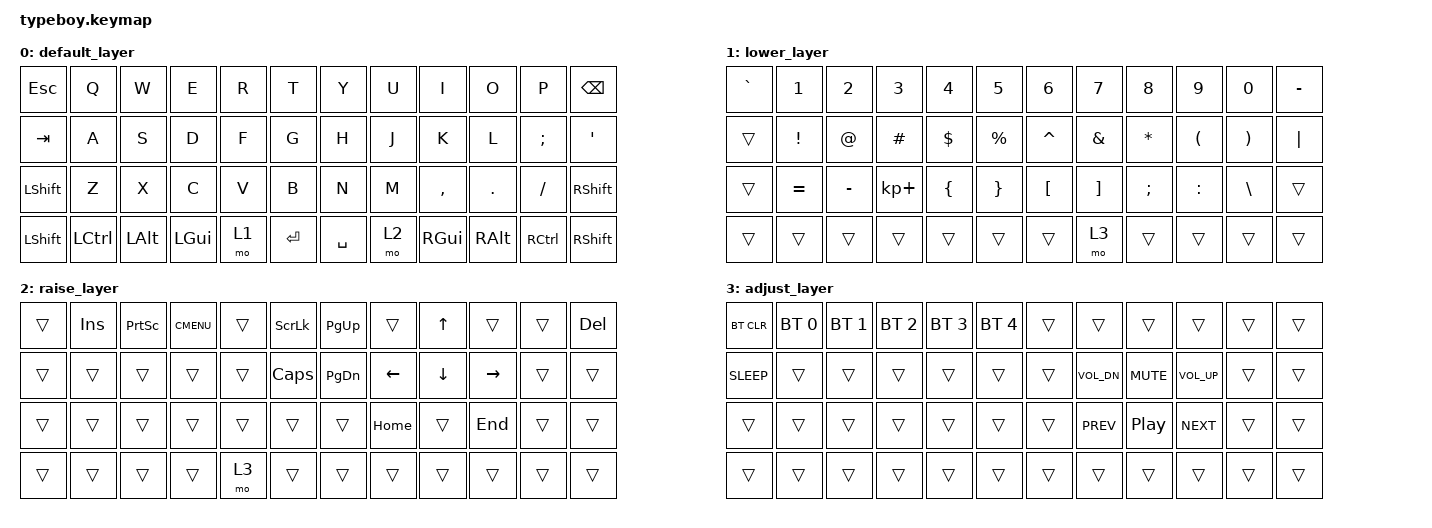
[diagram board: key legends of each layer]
/*
 * Copyright (c) 2020 The ZMK Contributors
 *
 * SPDX-License-Identifier: MIT
 */

#include <behaviors.dtsi>
#include <dt-bindings/zmk/keys.h>
#include <dt-bindings/zmk/bt.h>
#include <dt-bindings/zmk/rgb.h>

/ {
        keymap {
                compatible = "zmk,keymap";

                default_layer {
// Keymap:
// -----------------------------------------------------------------------------
// | ESC  |  Q   |  W  |  E  |  R  |  T  |  Y  |  U  |  I  |  O  |  P   | BSPC |
// | TAB  |  A   |  S  |  D  |  F  |  G  |  H  |  J  |  K  |  L  |  ;   |  '   |
// | SHFT |  Z   |  X  |  C  |  V  |  B  |  N  |  M  |  ,  |  .  |  /   | SHFT |
// | SHFT | CTRL | ALT | CMD | LOW | ENT | SPC | RSE | CMD | ALT | CTRL | SHFT |
// -----------------------------------------------------------------------------
                        bindings = <
        &kp ESC   &kp Q     &kp W    &kp E    &kp R  &kp T    &kp Y     &kp U  &kp I     &kp O     &kp P     &kp BSPC
        &kp TAB   &kp A     &kp S    &kp D    &kp F  &kp G    &kp H     &kp J  &kp K     &kp L     &kp SEMI  &kp SQT
        &kp LSHFT &kp Z     &kp X    &kp C    &kp V  &kp B    &kp N     &kp M  &kp COMMA &kp DOT   &kp FSLH  &kp RSHFT
        &kp LSHFT &kp LCTRL &kp LALT &kp LGUI &mo 1  &kp RET  &kp SPACE &mo 2  &kp RGUI  &kp RALT  &kp RCTRL &kp RSHFT
                        >;
                };

                lower_layer {
// -------------------------------------------------------------------------
// |  `  |  1  |  2  |  3  |  4  |  5  |  6  |  7  |  8  |  9  |  0  |  -  |
// |  ~  |  !  |  @  |  #  |  $  |  %  |  ^  |  &  |  *  |  (  |  )  |  _  |
// |     |  =  |  -  |  +  |  {  |  }  |  [  |  ]  |  ;  |  :  |  \  |     |
// |     |     |     |     |     |     |     | RSE |     |     |     |     |
// -------------------------------------------------------------------------
                        bindings = <
        &kp GRAVE &kp N1    &kp N2    &kp N3      &kp N4   &kp N5     &kp N6    &kp N7   &kp N8    &kp N9    &kp N0   &kp MINUS
        &trans    &kp EXCL  &kp AT    &kp HASH    &kp DLLR &kp PRCNT  &kp CARET &kp AMPS &kp ASTRK &kp LPAR  &kp RPAR &kp PIPE
        &trans    &kp EQUAL &kp MINUS &kp KP_PLUS &kp LBRC &kp RBRC   &kp LBKT  &kp RBKT &kp SEMI  &kp COLON &kp BSLH &trans
        &trans    &trans    &trans    &trans      &trans   &trans     &trans    &mo 3    &trans    &trans    &trans   &trans
                        >;
                };

                raise_layer {
// -------------------------------------------------------------------------
// |     | INS |PSCRN|MENU |     |Scll |PG UP|     |  Up |     |     | Del |
// |     |     |     |     |     |Caps |PG DN|Left |Down |Right|     |     |
// |     |     |     |     |     |     |     |Home |     | End |     |     |
// |     |     |     |     | LOW |     |     |     |     |     |     |     |
// -------------------------------------------------------------------------
                        bindings = <
        &trans &kp INS &kp PSCRN &kp K_CMENU &trans &kp SLCK  &kp PG_UP &trans   &kp UP   &trans    &trans &kp DEL
        &trans &trans  &trans    &trans      &trans &kp CLCK  &kp PG_DN &kp LEFT &kp DOWN &kp RIGHT &trans &trans
        &trans &trans  &trans    &trans      &trans &trans    &trans    &kp HOME &trans   &kp END   &trans &trans
        &trans &trans  &trans    &trans      &mo 3  &trans    &trans    &trans   &trans   &trans    &trans &trans
                        >;
                };

                adjust_layer {
// -------------------------------------------------------------------------
// |BTCLR| BT1 | BT2 | BT3 | BT4 | BT5 |     |     |     |     |     |     |
// |Sleep|     |     |     |     |     |     |VolDn|Mute |VolUp|     |     |
// |     |     |     |     |     |     |     |Prev |Play |Next |     |     |
// |     |     |     |     |     |     |     |     |     |     |     |     |
// -------------------------------------------------------------------------
                        bindings = <
        &bt BT_CLR  &bt BT_SEL 0 &bt BT_SEL 1 &bt BT_SEL 2 &bt BT_SEL 3 &bt BT_SEL 4 &trans &trans       &trans     &trans       &trans &trans
        &kp K_SLEEP &trans       &trans       &trans       &trans       &trans       &trans &kp C_VOL_DN &kp C_MUTE &kp C_VOL_UP &trans &trans
        &trans      &trans       &trans       &trans       &trans       &trans       &trans &kp C_PREV   &kp C_PP   &kp C_NEXT   &trans &trans
        &trans      &trans       &trans       &trans       &trans       &trans       &trans &trans       &trans     &trans       &trans &trans
                        >;
                };
        };
};
